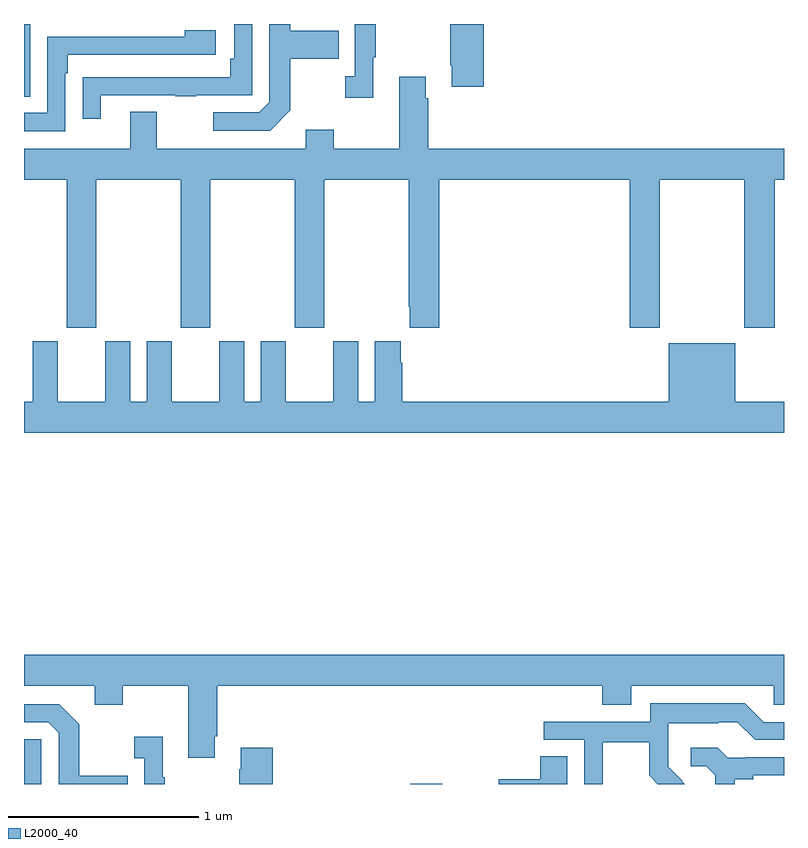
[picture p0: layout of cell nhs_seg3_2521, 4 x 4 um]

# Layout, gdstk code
import gdstk
lib = gdstk.Library(unit=1e-6, precision=1e-09)
def R(c, l, rs):  # rectangles x0, y0, x1, y1
    for r in rs: c.add(gdstk.rectangle(r[:2], r[2:], *l))
def P(c, l, *ps):  # polygons
    for p in ps: c.add(gdstk.Polygon(p, *l))
L2000_40 = (2000, 40)

nhs_seg3_2521 = lib.new_cell('nhs_seg3_2521')
R(nhs_seg3_2521, L2000_40, [(241,700.4,241.092,700.635), (243.032,700.4,243.202,700.402), (241,704.017,241.032,704.4)])
P(nhs_seg3_2521, L2000_40, [(242.401,703.945),(242.401,704.218),(242.657,704.218),(242.657,704.365),(242.401,704.365),(242.401,704.4),(242.292,704.4),(242.292,703.989),(242.238,703.935),(241.995,703.935),(241.995,703.839),(242.295,703.839)],
  [(242.839,704.225),(242.851,704.225),(242.851,704.4),(242.742,704.4),(242.742,704.126),(242.691,704.126),(242.691,704.013),(242.839,704.013)],
  [(243.419,704.4),(243.244,704.4),(243.244,704.182),(243.251,704.182),(243.251,704.07),(243.419,704.07)],
  [(241.405,704.025),(241.795,704.025),(241.795,704.02),(241.907,704.02),(241.907,704.025),(242.202,704.025),(242.202,704.4),(242.106,704.4),(242.106,704.218),(242.086,704.218),(242.086,704.121),(241.411,704.121),(241.411,704.12),(241.309,704.12),(241.309,703.902),(241.405,703.902)],
  [(241.218,704.141),(241.231,704.141),(241.231,704.238),(242.008,704.238),(242.008,704.368),(241.847,704.368),(241.847,704.334),(241.122,704.334),(241.122,703.932),(241,703.932),(241,703.836),(241.218,703.836)],
  [(241.38,703.58),(241.825,703.58),(241.825,702.801),(241.98,702.801),(241.98,703.58),(242.425,703.58),(242.425,702.801),(242.58,702.801),(242.58,703.58),(243.025,703.58),(243.025,702.913),(243.029,702.913),(243.029,702.801),(243.185,702.801),(243.185,703.58),(244.187,703.58),(244.187,702.801),(244.347,702.801),(244.347,703.58),(244.792,703.58),(244.792,702.801),(244.952,702.801),(244.952,703.58),(245,703.58),(245,703.744),(243.128,703.744),(243.128,704.009),(243.115,704.009),(243.115,704.122),(242.975,704.122),(242.975,703.744),(242.631,703.744),(242.631,703.843),(242.483,703.843),(242.483,703.744),(241.699,703.744),(241.699,703.939),(241.559,703.939),(241.559,703.744),(241,703.744),(241,703.58),(241.225,703.58),(241.225,702.801),(241.38,702.801)],
  [(245,702.412),(244.744,702.412),(244.744,702.721),(244.394,702.721),(244.394,702.412),(242.99,702.412),(242.99,702.617),(242.983,702.617),(242.983,702.73),(242.846,702.73),(242.846,702.412),(242.758,702.412),(242.758,702.73),(242.627,702.73),(242.627,702.412),(242.377,702.412),(242.377,702.73),(242.246,702.73),(242.246,702.412),(242.158,702.412),(242.158,702.73),(242.027,702.73),(242.027,702.412),(241.777,702.412),(241.777,702.73),(241.646,702.73),(241.646,702.412),(241.558,702.412),(241.558,702.73),(241.427,702.73),(241.427,702.412),(241.177,702.412),(241.177,702.73),(241.046,702.73),(241.046,702.412),(241,702.412),(241,702.248),(245,702.248)],
  [(242.005,700.651),(242.018,700.651),(242.018,700.916),(244.043,700.916),(244.043,700.817),(244.195,700.817),(244.195,700.916),(244.947,700.916),(244.947,700.818),(245,700.818),(245,701.08),(241,701.08),(241,700.916),(241.373,700.916),(241.373,700.817),(241.521,700.817),(241.521,700.916),(241.865,700.916),(241.865,700.539),(242.005,700.539)],
  [(244.047,700.62),(244.291,700.62),(244.291,700.445),(244.336,700.4),(244.478,700.4),(244.463,700.415),(244.464,700.416),(244.39,700.49),(244.39,700.587),(244.392,700.587),(244.392,700.721),(244.655,700.721),(244.655,700.725),(244.755,700.725),(244.848,700.632),(245,700.632),(245,700.725),(244.893,700.725),(244.793,700.825),(244.296,700.825),(244.296,700.728),(243.735,700.728),(243.735,700.632),(243.948,700.632),(243.948,700.4),(244.047,700.4)],
  [(241.547,700.443),(241.291,700.443),(241.291,700.715),(241.185,700.821),(241,700.821),(241,700.725),(241.128,700.725),(241.182,700.671),(241.182,700.4),(241.547,700.4)],
  [(241.741,700.435),(241.729,700.435),(241.729,700.648),(241.581,700.648),(241.581,700.535),(241.632,700.535),(241.632,700.4),(241.741,700.4)],
  [(242.309,700.591),(242.141,700.591),(242.141,700.478),(242.134,700.478),(242.134,700.4),(242.309,700.4)],
  [(244.741,700.424),(244.837,700.424),(244.837,700.446),(245,700.446),(245,700.542),(244.798,700.542),(244.798,700.539),(244.704,700.539),(244.652,700.591),(244.509,700.591),(244.509,700.494),(244.59,700.494),(244.637,700.447),(244.637,700.4),(244.741,700.4)],
  [(243.859,700.547),(243.716,700.547),(243.716,700.424),(243.498,700.424),(243.498,700.4),(243.859,700.4)])

lib.write_gds('nhs_seg3_2521.gds')
